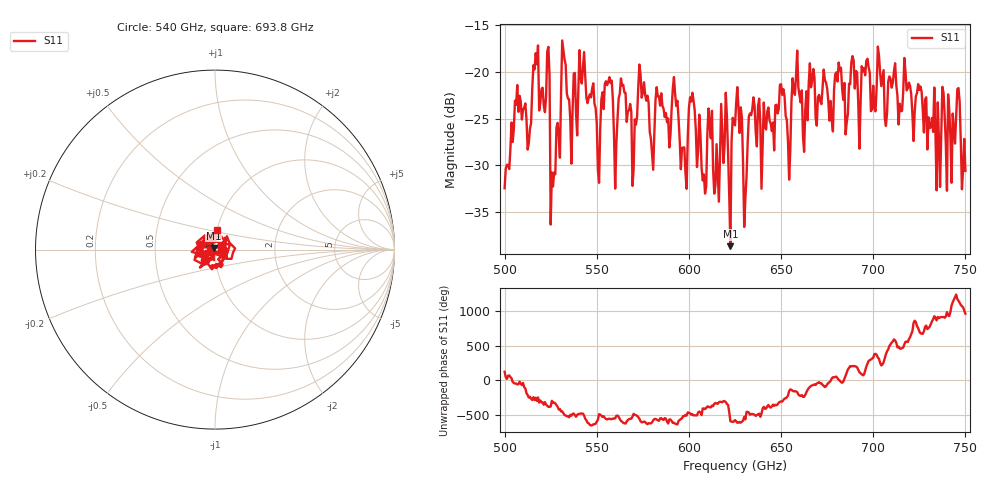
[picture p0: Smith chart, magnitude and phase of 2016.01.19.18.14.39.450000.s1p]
!Created with skrf (http://scikit-rf.org).
# GHz S RI R 50.0
!freq ReS11 ImS11
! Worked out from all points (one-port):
!   401 points, 500 GHz to 750 GHz, reference 50 ohm
!   lowest |S11| = -38.6 dB at 622.5 GHz (marker M1), VSWR 1.02, Z = 49.4 + j0.97 ohm
!   |S11| at or under -10 dB: start of sweep to end of sweep
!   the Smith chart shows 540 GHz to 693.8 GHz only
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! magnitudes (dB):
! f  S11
! 500 GHz  -32.5
! 506.9 GHz  -21.4
! 513.1 GHz  -27.6
! 516.9 GHz  -18.0
! 523.1 GHz  -17.8
! 526.2 GHz  -32.3
! 531.2 GHz  -16.6
! 535.6 GHz  -25.1
! 541.9 GHz  -21.2
! 550.6 GHz  -30.5
! 562.5 GHz  -22.3
! 570.6 GHz  -25.1
! 574.4 GHz  -22.8
! 580 GHz  -28.9
! 593.8 GHz  -23.1
! 597.5 GHz  -28.1
! 601.2 GHz  -23.2
! 608.1 GHz  -31.0
! 622.5 GHz  -38.6
! 625 GHz  -25.7
! 630.6 GHz  -33.5
! 634.4 GHz  -24.0
! 656.2 GHz  -20.7
! 687.5 GHz  -21.3
! 718.8 GHz  -21.8
! 735.6 GHz  -27.1
! 746.2 GHz  -21.7
! 750 GHz  -30.6
